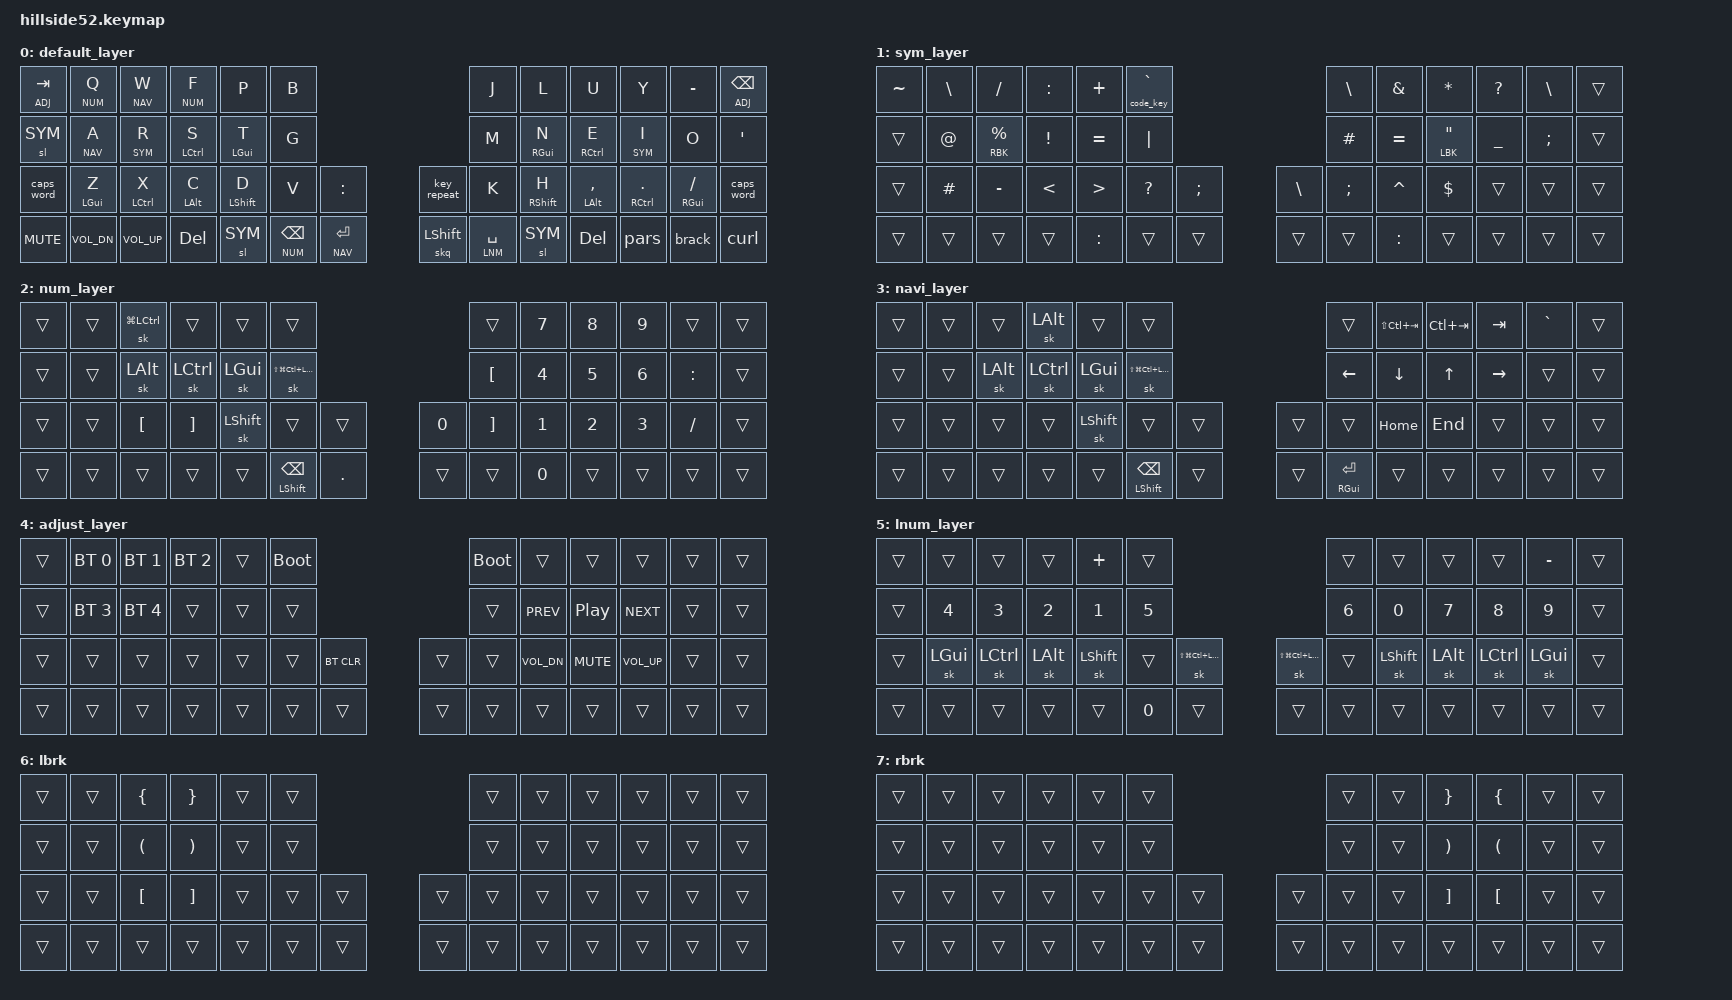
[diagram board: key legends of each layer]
/*
 * Copyright (c) 2021-2022 The ZMK Contributors
 *
 * SPDX-License-Identifier: MIT
 */

#include <behaviors.dtsi>
#include <dt-bindings/zmk/bt.h>
#include <dt-bindings/zmk/ext_power.h>
#include <dt-bindings/zmk/keys.h>
#include <dt-bindings/zmk/outputs.h>

#define DEFAULT 0
#define SYM 1
#define NUM 2
#define NAV 3
#define ADJ 4
#define LNM 5
#define LBK 6
#define RBK 7


&lt {
    tapping-term-ms = <200>;
    quick-tap-ms    = <200>; // hit within this time to trigger repeat
};

&sl {
    release-after-ms = <2000>;
};

&caps_word {
  continue-list = <UNDERSCORE MINUS>;
};
/ {
  combos {
    compatible = "zmk,combos";
    // -----------------------------------------------------------------------------------------
    // |  0  |  Q  |  W  |  E  |  R  |  T  |                    |  Y  |  U   |  I  |  O  |  P  | BKSP |
    // |  12 |  A  |  S  |  D  |  F  |  G  |                    |  H  |  J   |  K  |  L  |  ;  |  '   |
    // |  24 |  Z  |  X  |  C  |  V  |  B  | 30 |         | 31  |  N  |  M   |  ,  |  .  |  /  | ESC  |
    //             38 |  39 | 40 | 41 | 42 | 43 | 44 | 45 | 46 | 47 | 48 | 49 | 50 | 51 
    left_combo_esc {
      timeout-ms = <25>;
      key-positions = <14 15>;
      layers = <DEFAULT>;
      bindings = <&lt RBK ESC>;
    };
    right_combo_esc {
      timeout-ms = <25>;
      key-positions = <20 21>;
      layers = <DEFAULT>;
      bindings = <&lt LBK ESC>;
    };

    right_alt_bspc {
      timeout-ms = <25>;
      key-positions = <8 9>;
      layers = <DEFAULT>;
      bindings = <&kp LA(BSPC)>;
    };

    right_ctrl_bspc {
      timeout-ms = <25>;
      key-positions = <9 10>;
      layers = <DEFAULT>;
      bindings = <&kp LC(BSPC)>;
    };

    right_enter {
      timeout-ms = <20>;
      key-positions = <18 19>;
      layers = <DEFAULT>;
      bindings = <&kp RET>;
    };

    left_tab {
      timeout-ms = <20>;
      key-positions = <26 27>;
      layers = <DEFAULT>;
      bindings = <&kp TAB>;
    };

    right_tab {
      timeout-ms = <20>;
      key-positions = <34 35>;
      layers = <DEFAULT>;
      bindings = <&kp TAB>;
    };

    left_slash {
      timeout-ms = <25>;
      key-positions = <2 3>;
      layers = <DEFAULT>;
      bindings = <&kp FSLH>;
    };

    up_dir {
      timeout-ms = <40>;
      key-positions = <33 34 35>;
      layers = <DEFAULT>;
      bindings = <&updir>;
    };

    homedir {
      timeout-ms = <30>;
      layers = <SYM>;
      key-positions = <1 2>;
      bindings = <&homedir>;
    };
  };

  macros {
    ZMK_MACRO(code_key, 
      bindings
        = <&kp GRAVE &kp GRAVE &kp GRAVE>;
    )
    ZMK_MACRO(updir, 
      bindings
        = <&kp DOT &kp DOT &kp FSLH>;
    )
    ZMK_MACRO(homedir, 
      bindings
        = <&kp TILDE &kp FSLH>;
    )

    ZMK_MACRO(pars,
      bindings
      = <&kp LPAR &kp RPAR &kp LEFT>;
    )

    ZMK_MACRO(brack,
      bindings
      = <&kp LBKT &kp RBKT &kp LEFT>;
    )

    ZMK_MACRO(curl,
      bindings
      = <&kp LBRC &kp RBRC &kp LEFT>;
    )
  };
  behaviors {
    code: codegrave {
      compatible = "zmk,behavior-hold-tap";
      #binding-cells = <2>;
      flavor = "tap-preferred";
      tapping-term-ms = <200>;
      bindings = <&code_key>, <&kp>;
    };
    hml: homerow_mods_left {
        compatible = "zmk,behavior-hold-tap";
            #binding-cells = <2>;
            flavor = "balanced";
            require-prior-idle-ms = <50>;
            tapping-term-ms = <250>;
            quick-tap-ms = <200>;
            bindings = <&kp>, <&kp>;
            // include pretty much every key but the middle row
            hold-trigger-key-positions = < 6 7 8 9 10 11 18 19 20 21 22 23 31 32 33 34 35 36 37 45 46 47 48 49 50 51 52 /*top*/ 0 1 2 3 4 5 /*bottom*/ 24 25 26 27 28 29 30 /*thumbs*/38 39 40 41 42 43 44 >; 
    };
    hmr: homerow_mods_right {
        compatible = "zmk,behavior-hold-tap";
            #binding-cells = <2>;
            flavor = "balanced";
            require-prior-idle-ms = <50>;
            tapping-term-ms = <250>;
            quick-tap-ms = <200>;
            bindings = <&kp>, <&kp>;
            // include pretty much every key but the middle row
            hold-trigger-key-positions = < 0 1 2 3 4 5 12 13 14 15 16 17  24 25 26 27 28 29 30 38 39 40 41 42 43 44 /*top*/6 7 8 9 10 11 /*bottom*/ 31 32 33 34 35 36 37 /*thumbs*/ 45 46 47 48 49 50 51 52>; // List of keys on the left side of the keyboard
    };
    // quick release sticky key so shift only applies to one key
    skq: sticky_key_quick_release {
        compatible = "zmk,behavior-sticky-key";
        #binding-cells = <1>;
        bindings = <&kp>;
        release-after-ms = <1000>;
        quick-release;
        ignore-modifiers;
      };
  };

  keymap {
      compatible = "zmk,keymap";

      default_layer {
          bindings = <
          &lt ADJ TAB  &lt  NUM Q  &lt  NAV W   &lt NUM F    &kp  P        &kp B                      /**/                   &kp J &kp  L       &kp  U          &kp Y          &kp MINUS       &lt ADJ BSPC
          &sl SYM      &lt  NAV A  &lt  SYM R   &hml LCTRL S &hml LGUI T   &kp G  /* 31 32*/          /**/                   &kp M &hmr RGUI N  &hmr RCTRL E    &lt SYM I      &kp O           &kp SQT
          &caps_word   &hml LGUI Z &hml LCTRL X &hml LALT C  &hml LSHFT D  &kp V  &kp COLON          /**/      &key_repeat  &kp K &hmr RSHFT H &hmr LALT COMMA &hmr RCTRL DOT &hmr RGUI FSLH  &caps_word
                        &kp C_MUTE &kp C_VOL_DN &kp C_VOL_UP &kp DEL  &sl SYM &lt NUM BSPC &lt NAV RET    &skq LSHFT &lt LNM SPC &sl SYM &kp DEL &pars &brack &curl
          >;
      };
      sym_layer {
          bindings = <
          &kp TILDE &kp BSLH  &kp FSLH      &kp COLON   &kp PLUS  &code 0 GRAVE                              &kp BSLH &kp AMPS  &kp STAR    &kp QMARK &kp BSLH &trans
          &trans    &kp AT    &lt RBK PRCNT &kp EXCL    &kp EQUAL &kp PIPE                                   &kp HASH &kp EQUAL &lt LBK DQT &kp UNDER &kp SEMI &trans
          &trans    &kp HASH  &kp MINUS     &kp LT      &kp GT    &kp QMARK &kp SEMI                &kp BSLH &kp SEMI &kp CARET &kp DLLR  &trans    &trans &trans
                                     &trans &trans &trans &trans &kp COLON &trans &trans        &trans &trans &kp COLON &trans &trans &trans &trans
          >;
      };
      num_layer {
          bindings = <
          &trans &trans   &sk LG(LCTRL) &trans    &trans    &trans                                     &trans   &kp N7   &kp N8 &kp N9 &trans    &trans
          &trans &trans   &sk LALT      &sk LCTRL &sk LGUI  &sk LS(LG(LC(LALT)))                       &kp LBKT &kp N4   &kp N5 &kp N6 &kp COLON &trans
          &trans &trans   &kp LBKT      &kp RBKT  &sk LSHFT &trans &trans                       &kp N0 &kp RBKT &kp N1   &kp N2 &kp N3 &kp FSLH  &trans
                        &trans &trans &trans &trans &trans  &hml LSHFT BSPC &kp DOT        &trans &trans &kp N0 &trans &trans &trans &trans
          >;
      };
      navi_layer {
          bindings = <
          &trans &trans   &trans    &sk LALT  &trans    &trans                                        &trans   &kp LS(LC(TAB))    &kp LC(TAB) &kp TAB     &kp GRAVE &trans
          &trans &trans   &sk LALT  &sk LCTRL &sk LGUI  &sk LS(LG(LC(LALT)))                          &kp LEFT &kp DOWN           &kp UP      &kp RIGHT       &trans &trans
          &trans &trans   &trans    &trans    &sk LSHFT  &trans     &trans                      &trans &trans   &kp HOME           &kp END     &trans          &trans &trans
                        &trans &trans &trans &trans &trans &hml LSHFT BSPC &trans        &trans &hmr RGUI RET &trans &trans &trans &trans &trans  
          >;
      };
      adjust_layer {
          bindings = <
          &trans &bt BT_SEL 0 &bt BT_SEL 1 &bt BT_SEL 2 &trans &bootloader                               &bootloader &trans   &trans     &trans        &trans &trans
          &trans &bt BT_SEL 3 &bt BT_SEL 4 &trans       &trans &trans                                    &trans  &kp C_PREV   &kp C_PP   &kp C_NEXT    &trans &trans
          &trans &trans       &trans       &trans       &trans &trans &bt BT_CLR                  &trans &trans  &kp C_VOL_DN &kp C_MUTE &kp C_VOL_UP  &trans &trans
                                   &trans &trans &trans &trans &trans &trans &trans        &trans &trans &trans &trans &trans &trans &trans
          >;
      };
      lnum_layer {
          bindings = <
          &trans  &trans   &trans       &trans    &kp PLUS  &trans                                  &trans    &trans  &trans  &trans  &kp MINUS  &trans
          &trans  &kp N4   &kp N3       &kp N2    &kp N1    &kp N5                                  &kp N6    &kp N0  &kp N7  &kp N8  &kp N9 &trans
          &trans  &sk LGUI &sk LCTRL    &sk LALT  &sk LSHFT  &trans  &sk LS(LG(LC(LALT)))   &sk LS(LG(LC(LALT)))  &trans &sk LSHFT &sk LALT &sk LCTRL &sk LGUI  &trans
                       &trans &trans &trans &trans &trans &kp N0 &trans    &trans &trans &trans &trans &trans &trans &trans
          >;
      };
      lbrk {
          bindings = <
          &trans  &trans  &kp LBRC  &kp RBRC &trans  &trans                                  &trans  &trans  &trans  &trans  &trans  &trans
          &trans  &trans  &kp LPAR  &kp RPAR &trans  &trans                                  &trans  &trans  &trans  &trans  &trans  &trans
          &trans  &trans  &kp LBKT  &kp RBKT &trans  &trans  &trans                  &trans  &trans  &trans  &trans  &trans  &trans  &trans
                          &trans &trans &trans &trans &trans &trans &trans        &trans &trans &trans &trans &trans &trans &trans
          >;
      };
      rbrk {
          bindings = <
          &trans  &trans  &trans  &trans &trans  &trans                                  &trans  &trans  &kp RBRC  &kp LBRC  &trans  &trans
          &trans  &trans  &trans  &trans &trans  &trans                                  &trans  &trans  &kp RPAR  &kp LPAR  &trans  &trans
          &trans  &trans  &trans  &trans &trans  &trans  &trans                  &trans  &trans  &trans  &kp RBKT  &kp LBKT  &trans  &trans
                          &trans &trans &trans &trans &trans &trans &trans        &trans &trans &trans &trans &trans &trans &trans
          >;
      };
  };
};
